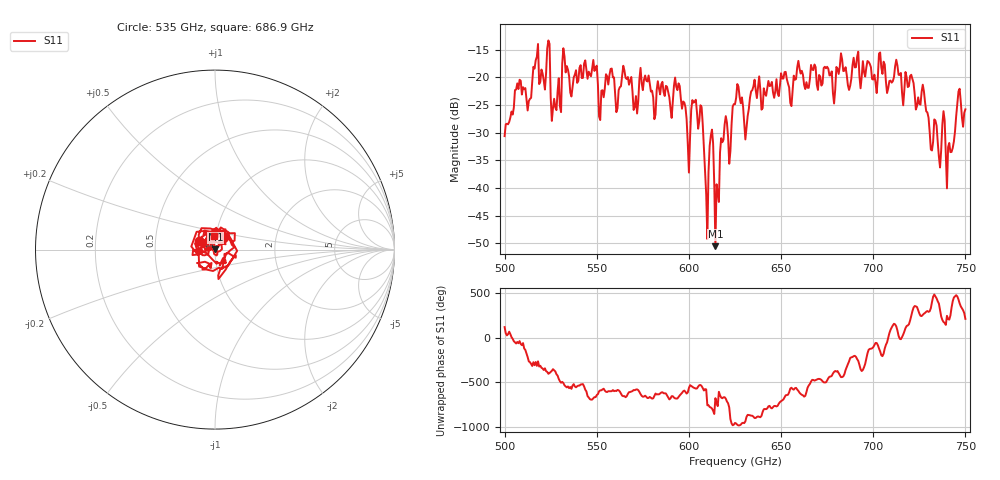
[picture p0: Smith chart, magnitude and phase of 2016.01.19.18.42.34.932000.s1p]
!Created with skrf (http://scikit-rf.org).
# GHz S RI R 50.0
!freq ReS11 ImS11
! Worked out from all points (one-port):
!   401 points, 500 GHz to 750 GHz, reference 50 ohm
!   lowest |S11| = -50.5 dB at 614.4 GHz (marker M1), VSWR 1.01, Z = 50.2 + j0.195 ohm
!   |S11| at or under -10 dB: start of sweep to end of sweep
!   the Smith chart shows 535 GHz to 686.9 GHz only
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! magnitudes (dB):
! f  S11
! 500 GHz  -30.6
! 507.5 GHz  -22.1
! 513.1 GHz  -24.3
! 516.9 GHz  -16.9
! 523.8 GHz  -13.3
! 526.9 GHz  -23.9
! 531.2 GHz  -17.5
! 562.5 GHz  -21.8
! 593.8 GHz  -22.3
! 599.4 GHz  -31.9
! 602.5 GHz  -24.6
! 606.9 GHz  -25.4
! 609.4 GHz  -41.2
! 612.5 GHz  -29.4
! 614.4 GHz  -50.5
! 618.8 GHz  -31.3
! 622.5 GHz  -33.4
! 625 GHz  -24.9
! 631.2 GHz  -29.1
! 635 GHz  -21.6
! 656.2 GHz  -22.5
! 660 GHz  -18.4
! 687.5 GHz  -21.5
! 690.6 GHz  -18.2
! 718.8 GHz  -21.8
! 740.6 GHz  -32.6
! 746.2 GHz  -22.6
! 750 GHz  -25.8
